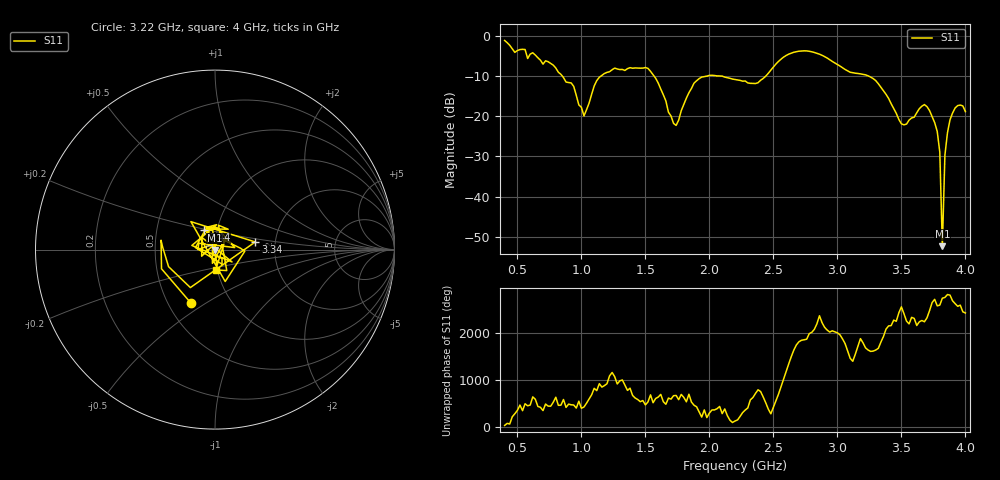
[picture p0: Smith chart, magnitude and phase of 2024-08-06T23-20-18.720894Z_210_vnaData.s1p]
!Created with skrf (http://scikit-rf.org).
# Hz S RI R 50.0
!freq ReS11 ImS11
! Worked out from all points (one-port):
!   181 points, 400 MHz to 4 GHz, reference 50 ohm
!   lowest |S11| = -52.3 dB at 3.82 GHz (marker M1), VSWR 1.00, Z = 49.8 - j0.188 ohm
!   |S11| at or under -10 dB: 1.566 GHz to 1.987 GHz (420.9 MHz wide, 23.7 % of centre); 2.057 GHz to 2.442 GHz (384.7 MHz wide, 17.1 % of centre); 3.241 GHz to end of sweep (the widest 3 of 4)
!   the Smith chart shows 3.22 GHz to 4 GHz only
!   S11 on the Smith chart (normalised r, x): 3.22 GHz: 0.65, -0.43; 3.34 GHz: 1.57, +0.14; 3.44 GHz: 0.86, +0.19; 4 GHz: 0.99, -0.23
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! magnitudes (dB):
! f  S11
! 400 MHz  -1.2
! 860 MHz  -10.4
! 940 MHz  -12.6
! 1.02 GHz  -20.0
! 1.12 GHz  -11.2
! 1.3 GHz  -8.4
! 1.52 GHz  -8.1
! 1.6 GHz  -11.8
! 1.72 GHz  -21.8
! 1.76 GHz  -21.0
! 1.92 GHz  -10.7
! 2.2 GHz  -10.9
! 2.38 GHz  -11.7
! 2.66 GHz  -4.1
! 3.1 GHz  -9.1
! 3.22 GHz  -9.7
! 3.34 GHz  -12.8
! 3.44 GHz  -18.1
! 3.5 GHz  -21.9
! 3.56 GHz  -21.0
! 3.68 GHz  -17.1
! 3.78 GHz  -23.8
! 3.8 GHz  -28.9
! 3.82 GHz  -52.3
! 3.84 GHz  -29.7
! 3.86 GHz  -24.1
! 3.92 GHz  -18.0
! 4 GHz  -18.9
